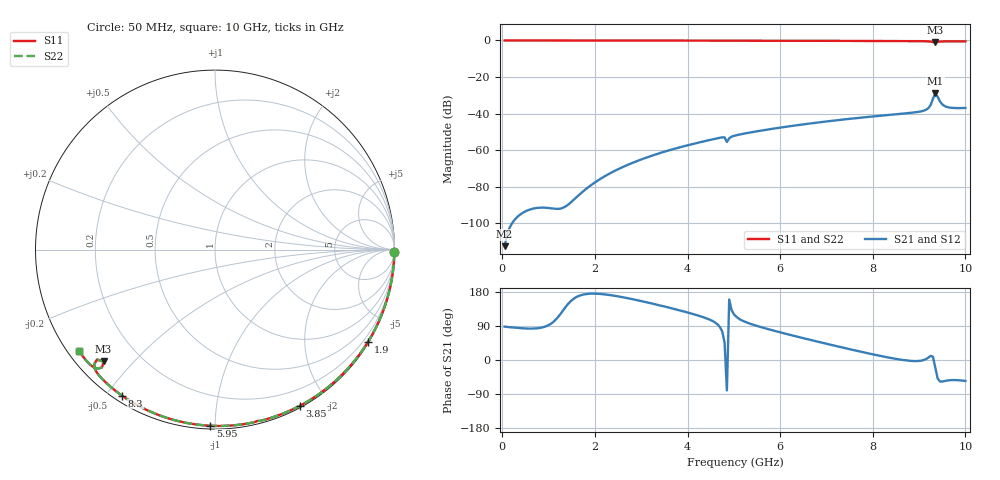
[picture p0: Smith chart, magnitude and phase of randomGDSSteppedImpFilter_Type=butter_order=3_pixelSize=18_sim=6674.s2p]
! freq	dB(S11)	phase(S11)	dB(S12)	phase(S12)
!  dB(S21)	phase(S21)	dB(S22)	phase(S22)
!S-par simulation data
#  GHz  S  DB  R 50
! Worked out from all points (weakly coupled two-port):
!   200 points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, 50 MHz to 10 GHz, reference 50 ohm
!   highest |S21| = -28.96 dB at 9.35 GHz (marker M1); lowest = -112.6 dB at 50 MHz (marker M2)
!   lowest |S11| = -1.1 dB at 9.35 GHz (marker M3), VSWR 15.53, Z = 3.77 - j20.6 ohm
!   |S11| at or under -10 dB: nowhere
!   |S22| runs from -1.1 to 0.0 dB; largest |S21 - S12| = 0
!   S11 on the Smith chart (normalised r, x): 50 MHz: open; 1.9 GHz: 0.03, -3.58; 3.85 GHz: 0.02, -1.68; 5.95 GHz: 0.02, -0.97; 8.3 GHz: 0.02, -0.55; 10 GHz: 0.03, -0.33
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0.05  -0.01 -0.8  -112.62 88.1  -112.62 88.1  -0.01 -0.8
1.75  -0.04 -28.8  -82.52 172.6  -82.52 172.6  -0.04 -28.8
1.9  -0.04 -31.2  -79.52 175.0  -79.52 175.0  -0.04 -31.2
2.55  -0.05 -41.5  -69.90 166.8  -69.90 166.8  -0.05 -41.6
3.4  -0.07 -54.7  -61.69 144.2  -61.69 144.2  -0.07 -54.7
3.85  -0.08 -61.5  -58.39 130.4  -58.39 130.4  -0.08 -61.5
4.75  -0.11 -74.7  -53.04 75.1  -53.04 75.1  -0.11 -74.8
4.8  -0.12 -75.5  -53.07 45.7  -53.07 45.7  -0.12 -75.6
4.85  -0.15 -76.1  -55.59 -80.3  -55.59 -80.3  -0.15 -76.2
4.9  -0.13 -76.7  -53.60 159.8  -53.60 159.8  -0.13 -76.8
5.05  -0.12 -78.9  -51.91 114.5  -51.91 114.5  -0.12 -79.0
5.95  -0.16 -91.5  -47.91 74.6  -47.91 74.6  -0.16 -91.6
6.7  -0.20 -101.6  -45.29 51.6  -45.29 51.6  -0.20 -101.7
8.3  -0.31 -122.5  -40.89 7.4  -40.89 7.4  -0.31 -122.6
8.35  -0.32 -123.2  -40.77 6.3  -40.77 6.3  -0.32 -123.3
9.15  -0.47 -134.4  -37.94 2.5  -37.94 2.5  -0.47 -134.5
9.25  -0.64 -136.4  -35.35 10.9  -35.35 10.9  -0.66 -136.6
9.35  -1.12 -134.9  -28.96 -19.9  -28.96 -19.9  -1.10 -134.6
9.45  -0.62 -134.6  -33.36 -56.6  -33.36 -56.6  -0.60 -134.8
9.55  -0.50 -136.6  -35.89 -55.6  -35.89 -55.6  -0.49 -136.8
9.7  -0.47 -139.0  -36.89 -53.0  -36.89 -53.0  -0.47 -139.2
10  -0.49 -143.2  -36.97 -55.3  -36.97 -55.3  -0.49 -143.3
